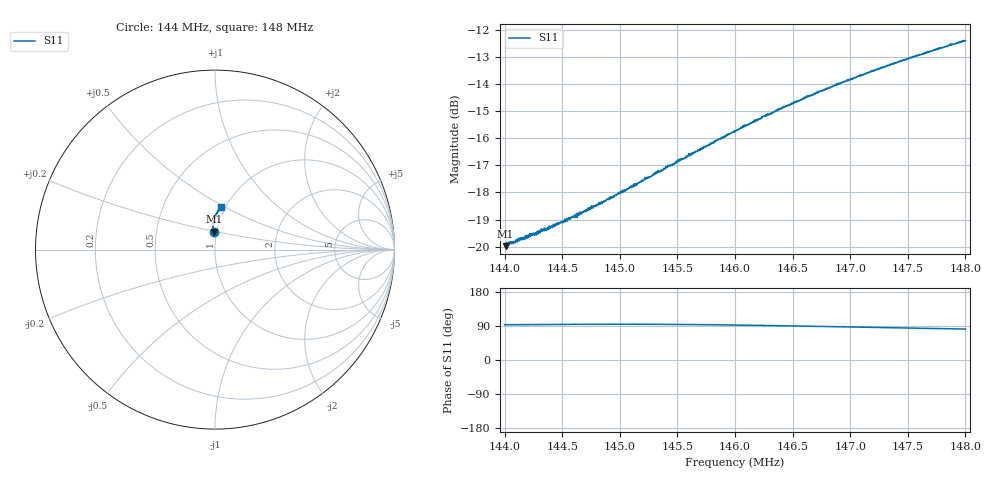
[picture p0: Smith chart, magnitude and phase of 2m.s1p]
! Calibrated averaged scanner-service zoom
# Hz S RI R 50
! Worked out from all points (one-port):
!   1001 points, 144 MHz to 148 MHz, reference 50 ohm
!   lowest |S11| = -20.0 dB at 144.01 MHz (marker M1), VSWR 1.22, Z = 48.5 + j9.8 ohm
!   |S11| at or under -10 dB: start of sweep to end of sweep
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1.44e8  -0.00506 0.1006
1.44008e8  -0.00546 0.1
1.4428e8  -0.00606 0.1063
1.443e8  -0.00606 0.1063
1.445e8  -0.00722 0.1105
1.44632e8  -0.00818 0.1143
1.44952e8  -0.00904 0.1238
1.45e8  -0.0092 0.125
1.45052e8  -0.00913 0.1271
1.45212e8  -0.00937 0.1324
1.45276e8  -0.00958 0.1345
1.45316e8  -0.0101 0.1372
1.4536e8  -0.00953 0.1379
1.45416e8  -0.0101 0.141
1.4546e8  -0.00939 0.1417
1.455e8  -0.00978 0.1441
1.46e8  -0.00635 0.1636
1.46208e8  -0.00377 0.1719
1.46248e8  -0.00246 0.1742
1.46308e8  -0.00247 0.1757
1.46368e8  -0.00218 0.1795
1.465e8  0.000398 0.1836
1.46724e8  0.00462 0.1937
1.47e8  0.0108 0.2039
1.4724e8  0.0158 0.2124
1.475e8  0.022 0.2209
1.47868e8  0.031 0.2334
1.48e8  0.0345 0.2376
